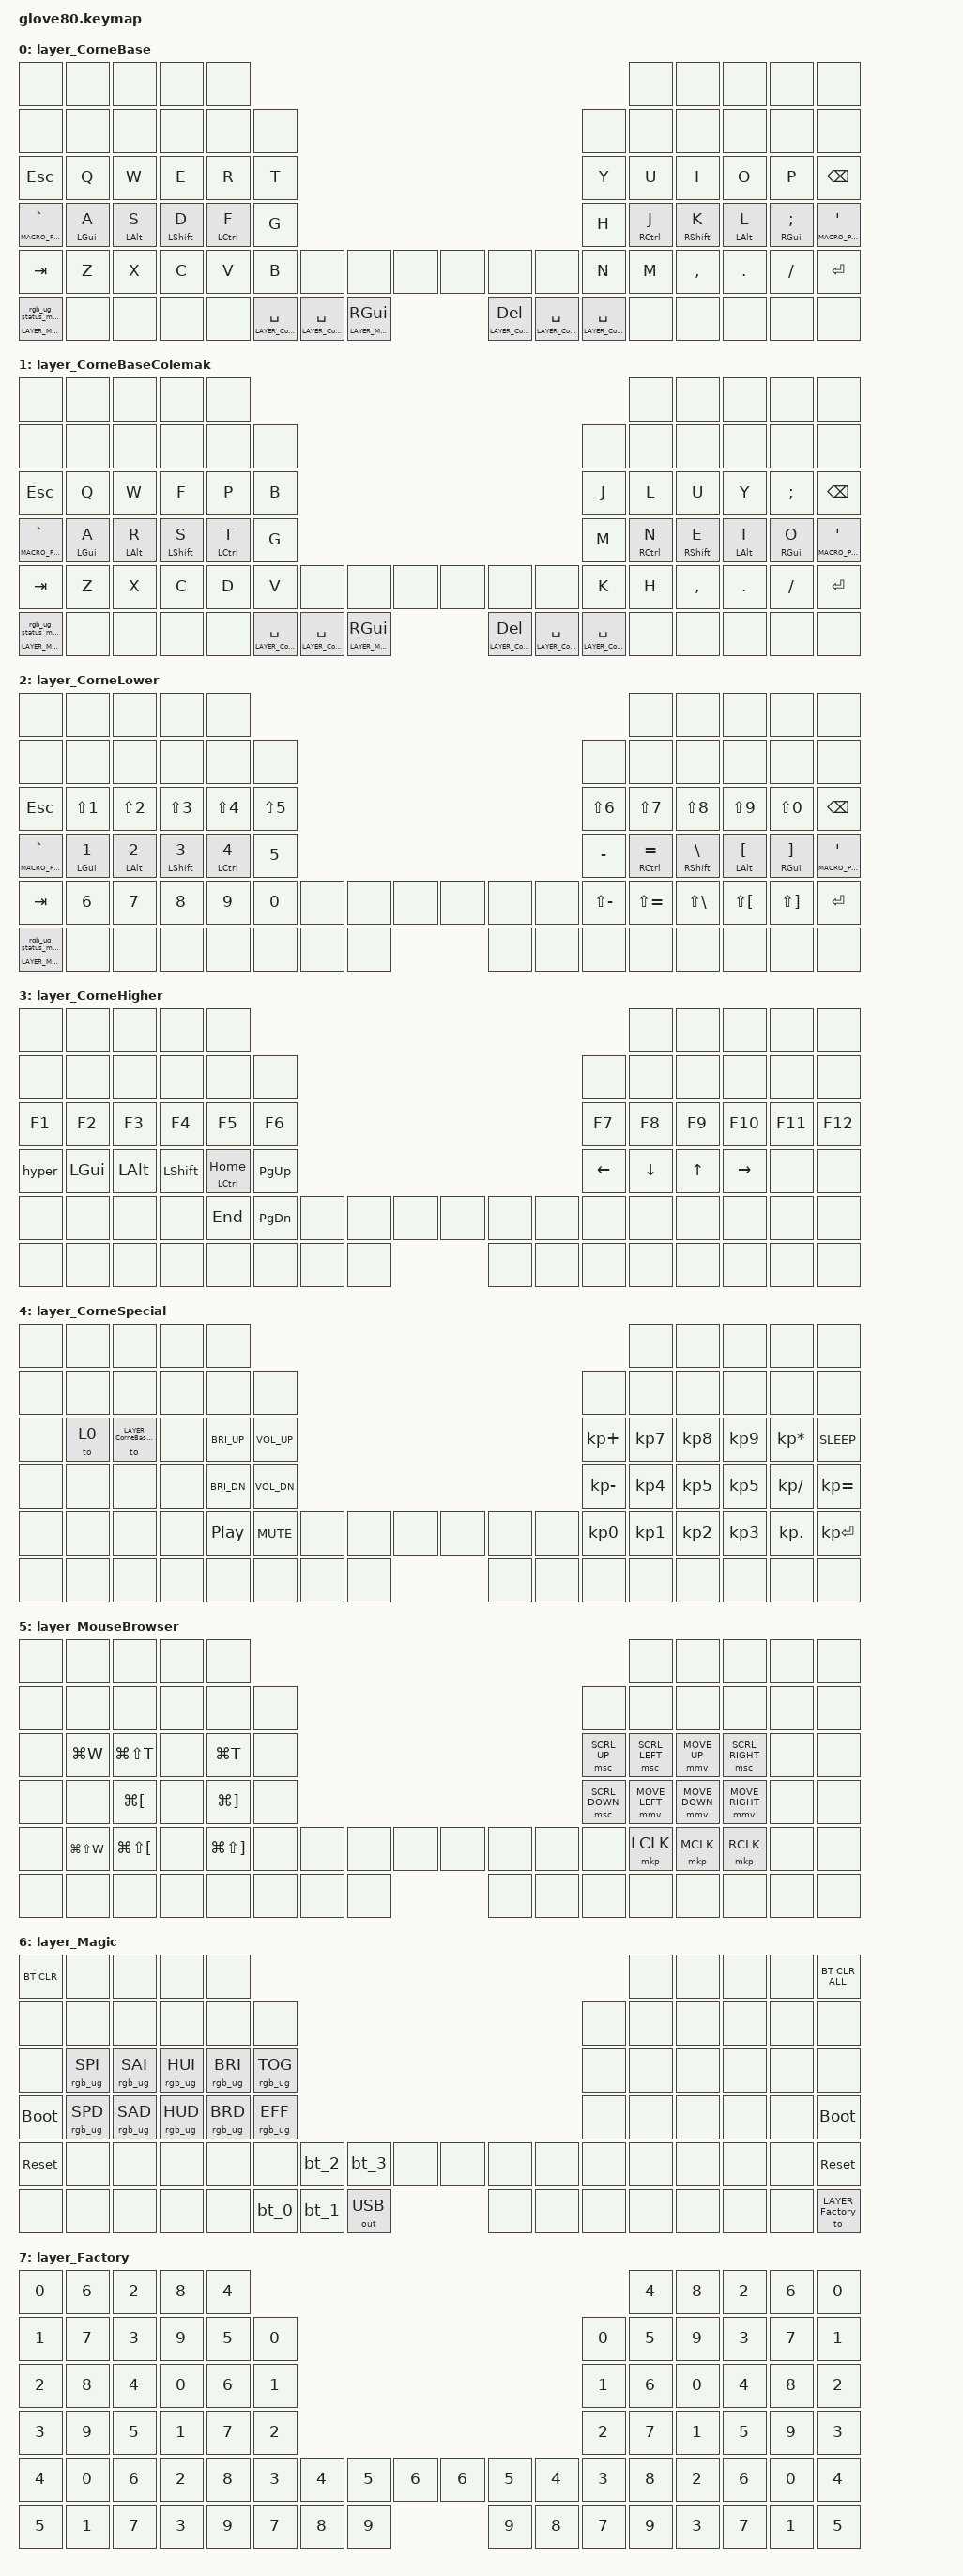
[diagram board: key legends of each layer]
/*
 * Copyright (c) 2020 The ZMK Contributors
 * Copyright (c) 2025 Innaworks Development Limited, trading as MoErgo
 *
 * SPDX-License-Identifier: MIT
 */


/* THIS FILE WAS GENERATED BY GLOVE80 LAYOUT EDITOR
 *
 * This file was generated automatically. You may or may not want to
 * edit it directly.
 */

#include <behaviors.dtsi>
/* Include all behavior includes needed */
#include <dt-bindings/zmk/outputs.h>
#include <dt-bindings/zmk/keys.h>
#include <dt-bindings/zmk/bt.h>
#include <dt-bindings/zmk/rgb.h>

/* On demand includes */
#include <dt-bindings/zmk/pointing.h>

/* Helper Macros, based on https://github.com/urob/zmk-helpers/ */

#pragma once

#define ZMK_HELPER_STRINGIFY(x) #x

// Preprocessor mechanism to overload macros, cf. https://stackoverflow.com/a/27051616/6114651
#define VARGS_(_10, _9, _8, _7, _6, _5, _4, _3, _2, _1, N, ...) N
#define VARGS(...) VARGS_(__VA_ARGS__, 10, 9, 8, 7, 6, 5, 4, 3, 2, 1, 0)
#define CONCAT_(a, b) a##b
#define CONCAT(a, b) CONCAT_(a, b)

#define ZMK_BEHAVIOR_CORE_tap_dance  \
    compatible = "zmk,behavior-tap-dance"; \
    #binding-cells = <0>

#define ZMK_BEHAVIOR(name, type, ...) \
    name: name { \
        ZMK_BEHAVIOR_CORE_ ## type; \
        __VA_ARGS__ \
    };

#define ZMK_TAP_DANCE(name, ...) \
    ZMK_BEHAVIOR(name, tap_dance, __VA_ARGS__)

#define ZMK_TD_LAYER(name, layer) \
    ZMK_TAP_DANCE(name, \
        tapping-term-ms = <200>; \
        bindings = <&mo layer>, <&to layer>; \
)

/* Environment and metadata defines */
#define KB_TYPE_GLOVE_80 1
#define KB_TYPE_GO_60    2

#define KB_TYPE          KB_TYPE_GLOVE_80
#define EDITOR_HOST_OS   'M'

/* Automatically generated layer name defines */
#define LAYER_CorneBase 0
#define LAYER_CorneBaseColemak 1
#define LAYER_CorneLower 2
#define LAYER_CorneHigher 3
#define LAYER_CorneSpecial 4
#define LAYER_MouseBrowser 5
#define LAYER_Magic 6
#define LAYER_Factory 7

/* To deal with the situation where there is no Lower layer, to keep &lower happy */
#ifndef LAYER_Lower
#define LAYER_Lower 0
#endif

/* Custom Device-tree */


/* Input Listeners */


/* System behavior and Macros */
/ {
    behaviors {
        ZMK_TD_LAYER(lower, LAYER_Lower)
    };
};

/ {
    macros {
        rgb_ug_status_macro: rgb_ug_status_macro {
            label = "RGB_UG_STATUS";
            compatible = "zmk,behavior-macro";
            #binding-cells = <0>;
            bindings
                = <&rgb_ug RGB_STATUS>;
        };
    };
};


/ {
#ifdef BT_DISC_CMD
    behaviors {
        bt_0: bt_0 {
            compatible = "zmk,behavior-tap-dance";
            label = "BT_0";
            #binding-cells = <0>;
            tapping-term-ms = <200>;
            bindings = <&bt_select_0>, <&bt BT_DISC 0>;
        };
        bt_1: bt_1 {
            compatible = "zmk,behavior-tap-dance";
            label = "BT_1";
            #binding-cells = <0>;
            tapping-term-ms = <200>;
            bindings = <&bt_select_1>, <&bt BT_DISC 1>;
        };
        bt_2: bt_2 {
            compatible = "zmk,behavior-tap-dance";
            label = "BT_2";
            #binding-cells = <0>;
            tapping-term-ms = <200>;
            bindings = <&bt_select_2>, <&bt BT_DISC 2>;
        };
        bt_3: bt_3 {
            compatible = "zmk,behavior-tap-dance";
            label = "BT_3";
            #binding-cells = <0>;
            tapping-term-ms = <200>;
            bindings = <&bt_select_3>, <&bt BT_DISC 3>;
        };
    };
    macros {
        bt_select_0: bt_select_0 {
            label = "BT_SELECT_0";
            compatible = "zmk,behavior-macro";
            #binding-cells = <0>;
            bindings
                = <&out OUT_BLE>,
                  <&bt BT_SEL 0>;
        };
        bt_select_1: bt_select_1 {
            label = "BT_SELECT_1";
            compatible = "zmk,behavior-macro";
            #binding-cells = <0>;
            bindings
                = <&out OUT_BLE>,
                  <&bt BT_SEL 1>;
        };
        bt_select_2: bt_select_2 {
            label = "BT_SELECT_2";
            compatible = "zmk,behavior-macro";
            #binding-cells = <0>;
            bindings
                = <&out OUT_BLE>,
                  <&bt BT_SEL 2>;
        };
        bt_select_3: bt_select_3 {
            label = "BT_SELECT_3";
            compatible = "zmk,behavior-macro";
            #binding-cells = <0>;
            bindings
                = <&out OUT_BLE>,
                  <&bt BT_SEL 3>;
        };
    };
#else
    macros {
        bt_0: bt_0 {
            label = "BT_0";
            compatible = "zmk,behavior-macro";
            #binding-cells = <0>;
            bindings
                = <&out OUT_BLE>,
                  <&bt BT_SEL 0>;
        };
        bt_1: bt_1 {
            label = "BT_1";
            compatible = "zmk,behavior-macro";
            #binding-cells = <0>;
            bindings
                = <&out OUT_BLE>,
                  <&bt BT_SEL 1>;
        };
        bt_2: bt_2 {
            label = "BT_2";
            compatible = "zmk,behavior-macro";
            #binding-cells = <0>;
            bindings
                = <&out OUT_BLE>,
                  <&bt BT_SEL 2>;
        };
        bt_3: bt_3 {
            label = "BT_3";
            compatible = "zmk,behavior-macro";
            #binding-cells = <0>;
            bindings
                = <&out OUT_BLE>,
                  <&bt BT_SEL 3>;
        };
    };
#endif
};

/ {
    behaviors {
        magic: magic {
            compatible = "zmk,behavior-hold-tap";
            label = "MAGIC_HOLD_TAP";
            #binding-cells = <2>;
            flavor = "tap-preferred";
            tapping-term-ms = <200>;
            bindings = <&mo>, <&rgb_ug_status_macro>;
        };
    };
};


/* Key positions */

#define POS_LH_C6R1 0
#define POS_LH_C5R1 1
#define POS_LH_C4R1 2
#define POS_LH_C3R1 3
#define POS_LH_C2R1 4
#define POS_RH_C2R1 5
#define POS_RH_C3R1 6
#define POS_RH_C4R1 7
#define POS_RH_C5R1 8
#define POS_RH_C6R1 9
#define POS_LH_C6R2 10
#define POS_LH_C5R2 11
#define POS_LH_C4R2 12
#define POS_LH_C3R2 13
#define POS_LH_C2R2 14
#define POS_LH_C1R2 15
#define POS_RH_C1R2 16
#define POS_RH_C2R2 17
#define POS_RH_C3R2 18
#define POS_RH_C4R2 19
#define POS_RH_C5R2 20
#define POS_RH_C6R2 21
#define POS_LH_C6R3 22
#define POS_LH_C5R3 23
#define POS_LH_C4R3 24
#define POS_LH_C3R3 25
#define POS_LH_C2R3 26
#define POS_LH_C1R3 27
#define POS_RH_C1R3 28
#define POS_RH_C2R3 29
#define POS_RH_C3R3 30
#define POS_RH_C4R3 31
#define POS_RH_C5R3 32
#define POS_RH_C6R3 33
#define POS_LH_C6R4 34
#define POS_LH_C5R4 35
#define POS_LH_C4R4 36
#define POS_LH_C3R4 37
#define POS_LH_C2R4 38
#define POS_LH_C1R4 39
#define POS_RH_C1R4 40
#define POS_RH_C2R4 41
#define POS_RH_C3R4 42
#define POS_RH_C4R4 43
#define POS_RH_C5R4 44
#define POS_RH_C6R4 45
#define POS_LH_C6R5 46
#define POS_LH_C5R5 47
#define POS_LH_C4R5 48
#define POS_LH_C3R5 49
#define POS_LH_C2R5 50
#define POS_LH_C1R5 51
#define POS_LH_T1 52
#define POS_LH_T2 53
#define POS_LH_T3 54
#define POS_RH_T3 55
#define POS_RH_T2 56
#define POS_RH_T1 57
#define POS_RH_C1R5 58
#define POS_RH_C2R5 59
#define POS_RH_C3R5 60
#define POS_RH_C4R5 61
#define POS_RH_C5R5 62
#define POS_RH_C6R5 63
#define POS_LH_C6R6 64
#define POS_LH_C5R6 65
#define POS_LH_C4R6 66
#define POS_LH_C3R6 67
#define POS_LH_C2R6 68
#define POS_LH_T4 69
#define POS_LH_T5 70
#define POS_LH_T6 71
#define POS_RH_T6 72
#define POS_RH_T5 73
#define POS_RH_T4 74
#define POS_RH_C2R6 75
#define POS_RH_C3R6 76
#define POS_RH_C4R6 77
#define POS_RH_C5R6 78
#define POS_RH_C6R6 79


/* Custom Defined Behaviors */
/ {

};

/* Generated input processors */


/* Automatically generated macro definitions */
/ {
    macros {

        hyper: hyper {
            label = "&HYPER";
            compatible = "zmk,behavior-macro";
            #binding-cells = <0>;
            bindings = <&macro_press>
                , <&kp LSHFT>
                , <&kp LCTRL>
                , <&kp LGUI>
                , <&kp LALT>
                , <&macro_pause_for_release>
                , <&macro_release>
                , <&kp LSHFT>
                , <&kp LCTRL>
                , <&kp LGUI>
                , <&kp LALT>;
        };
    };
};

/* Automatically generated behavior definitions */
/ {
    behaviors {


        home_row_hyper: home_row_hyper {
            compatible = "zmk,behavior-hold-tap";
            #binding-cells = <2>;
            tapping-term-ms = <180>;
            bindings = <&hyper>, <&kp>;
            flavor = "tap-preferred";
        };

        homerow: homerow {
            compatible = "zmk,behavior-hold-tap";
            #binding-cells = <2>;
            tapping-term-ms = <180>;
            bindings = <&kp>, <&kp>;
            flavor = "tap-preferred";
        };

        spacelayer: spacelayer {
            compatible = "zmk,behavior-hold-tap";
            #binding-cells = <2>;
            tapping-term-ms = <180>;
            bindings = <&mo>, <&kp>;
            flavor = "tap-preferred";
            quick-tap-ms = <100>;
        };
    };
};

/* Automatically generated combos definitions */
/ {
    combos {
        compatible = "zmk,combos";

        combo_ESCCombo {
            key-positions = <POS_LH_C4R3 POS_LH_C3R3>;
            bindings = <&kp ESC>;
        };

        combo_TabCombo {
            key-positions = <POS_LH_C4R5 POS_LH_C3R5>;
            bindings = <&kp TAB>;
        };

        combo_BackspaceCombo {
            key-positions = <POS_RH_C4R3 POS_RH_C3R3>;
            bindings = <&kp BSPC>;
        };

        combo_DeleteCombo {
            key-positions = <POS_RH_C3R3 POS_RH_C2R3>;
            bindings = <&kp DEL>;
        };

        combo_EnterCombo {
            key-positions = <POS_RH_C3R5 POS_RH_C4R5>;
            bindings = <&kp RET>;
        };

        combo_CapsLockCombo {
            key-positions = <POS_LH_C3R4 POS_RH_C3R4>;
            bindings = <&kp CAPS>;
        };
    };
};

/* Automatically generated keymap */
/ {
    keymap {
        compatible = "zmk,keymap";


        layer_CorneBase {
            bindings = <
                                   &none            &none            &none             &none             &none                                                                                                                                                                                                                                                        &none             &none            &none               &none                                  &none
                                   &none            &none            &none             &none             &none   &none                                                                                                                                                                                                                              &none             &none             &none            &none               &none                                  &none
                                 &kp ESC            &kp Q            &kp W             &kp E             &kp R   &kp T                                                                                                                                                                                                                              &kp Y             &kp U             &kp I            &kp O               &kp P                               &kp BSPC
 &home_row_hyper MACRO_PLACEHOLDER GRAVE  &homerow LGUI A  &homerow LALT S  &homerow LSHFT D  &homerow LCTRL F   &kp G                                                                                                                                                                                                                              &kp H  &homerow RCTRL J  &homerow RSHFT K  &homerow LALT L  &homerow RGUI SEMI  &home_row_hyper MACRO_PLACEHOLDER SQT
                                 &kp TAB            &kp Z            &kp X             &kp C             &kp V   &kp B                               &none                                &none                                &none                               &none                                &none                               &none   &kp N             &kp M         &kp COMMA          &kp DOT            &kp FSLH                                &kp RET
                    &magic LAYER_Magic 0            &none            &none             &none             &none          &spacelayer LAYER_CorneLower SPACE  &spacelayer LAYER_CorneHigher SPACE  &spacelayer LAYER_MouseBrowser RGUI  &spacelayer LAYER_CorneSpecial DEL  &spacelayer LAYER_CorneHigher SPACE  &spacelayer LAYER_CorneLower SPACE                     &none             &none            &none               &none                                  &none
            >;
        };

        layer_CorneBaseColemak {
            bindings = <
                                   &none            &none            &none             &none             &none                                                                                                                                                                                                                                                        &none             &none            &none            &none                                  &none
                                   &none            &none            &none             &none             &none   &none                                                                                                                                                                                                                              &none             &none             &none            &none            &none                                  &none
                                 &kp ESC            &kp Q            &kp W             &kp F             &kp P   &kp B                                                                                                                                                                                                                              &kp J             &kp L             &kp U            &kp Y         &kp SEMI                               &kp BSPC
 &home_row_hyper MACRO_PLACEHOLDER GRAVE  &homerow LGUI A  &homerow LALT R  &homerow LSHFT S  &homerow LCTRL T   &kp G                                                                                                                                                                                                                              &kp M  &homerow RCTRL N  &homerow RSHFT E  &homerow LALT I  &homerow RGUI O  &home_row_hyper MACRO_PLACEHOLDER SQT
                                 &kp TAB            &kp Z            &kp X             &kp C             &kp D   &kp V                               &none                                &none                                &none                               &none                                &none                               &none   &kp K             &kp H         &kp COMMA          &kp DOT         &kp FSLH                                &kp RET
                    &magic LAYER_Magic 0            &none            &none             &none             &none          &spacelayer LAYER_CorneLower SPACE  &spacelayer LAYER_CorneHigher SPACE  &spacelayer LAYER_MouseBrowser RGUI  &spacelayer LAYER_CorneSpecial DEL  &spacelayer LAYER_CorneHigher SPACE  &spacelayer LAYER_CorneLower SPACE                     &none             &none            &none            &none                                  &none
            >;
        };

        layer_CorneLower {
            bindings = <
                                   &none             &none             &none              &none              &none                                                                                            &none                &none               &none               &none                                  &none
                                   &none             &none             &none              &none              &none       &none                                                          &none                 &none                &none               &none               &none                                  &none
                                 &kp ESC        &kp LS(N1)        &kp LS(N2)         &kp LS(N3)         &kp LS(N4)  &kp LS(N5)                                                     &kp LS(N6)            &kp LS(N7)           &kp LS(N8)          &kp LS(N9)          &kp LS(N0)                               &kp BSPC
 &home_row_hyper MACRO_PLACEHOLDER GRAVE  &homerow LGUI N1  &homerow LALT N2  &homerow LSHFT N3  &homerow LCTRL N4      &kp N5                                                      &kp MINUS  &homerow RCTRL EQUAL  &homerow RSHFT BSLH  &homerow LALT LBKT  &homerow RGUI RBKT  &home_row_hyper MACRO_PLACEHOLDER SQT
                                 &kp TAB            &kp N6            &kp N7             &kp N8             &kp N9      &kp N0   &none   &none   &none   &none   &none   &none  &kp LS(MINUS)         &kp LS(EQUAL)         &kp LS(BSLH)        &kp LS(LBKT)        &kp LS(RBKT)                                &kp RET
                    &magic LAYER_Magic 0             &none             &none              &none              &none               &none   &none   &none   &none   &none   &none                                &none                &none               &none               &none                                  &none
            >;
        };

        layer_CorneHigher {
            bindings = <
  &none     &none     &none      &none                &none                                                                          &none   &none      &none    &none    &none
  &none     &none     &none      &none                &none      &none                                                     &none     &none   &none      &none    &none    &none
 &kp F1    &kp F2    &kp F3     &kp F4               &kp F5     &kp F6                                                    &kp F7    &kp F8  &kp F9    &kp F10  &kp F11  &kp F12
 &hyper  &kp LGUI  &kp LALT  &kp LSHFT  &homerow LCTRL HOME  &kp PG_UP                                                  &kp LEFT  &kp DOWN  &kp UP  &kp RIGHT    &none    &none
  &none     &none     &none      &none              &kp END  &kp PG_DN   &none   &none   &none   &none   &none   &none     &none     &none   &none      &none    &none    &none
  &none     &none     &none      &none                &none              &none   &none   &none   &none   &none   &none               &none   &none      &none    &none    &none
            >;
        };

        layer_CorneSpecial {
            bindings = <
  &none   &none                       &none   &none         &none                                                                                  &none      &none      &none            &none         &none
  &none   &none                       &none   &none         &none         &none                                                         &none      &none      &none      &none            &none         &none
  &none   &to 0  &to LAYER_CorneBaseColemak   &none  &kp C_BRI_UP  &kp C_VOL_UP                                                   &kp KP_PLUS  &kp KP_N7  &kp KP_N8  &kp KP_N9  &kp KP_MULTIPLY   &kp C_SLEEP
  &none   &none                       &none   &none  &kp C_BRI_DN  &kp C_VOL_DN                                                  &kp KP_MINUS  &kp KP_N4  &kp KP_N5  &kp KP_N5     &kp KP_SLASH  &kp KP_EQUAL
  &none   &none                       &none   &none      &kp C_PP    &kp K_MUTE   &none   &none   &none   &none   &none   &none     &kp KP_N0  &kp KP_N1  &kp KP_N2  &kp KP_N3       &kp KP_DOT  &kp KP_ENTER
  &none   &none                       &none   &none         &none                 &none   &none   &none   &none   &none   &none                    &none      &none      &none            &none         &none
            >;
        };

        layer_MouseBrowser {
            bindings = <
  &none          &none                     &none   &none                      &none                                                                                   &none           &none            &none   &none   &none
  &none          &none                     &none   &none                      &none   &none                                                           &none           &none           &none            &none   &none   &none
  &none      &kp LG(W)             &kp LG(LS(T))   &none                  &kp LG(T)   &none                                                    &msc SCRL_UP  &msc SCRL_LEFT    &mmv MOVE_UP  &msc SCRL_RIGHT   &none   &none
  &none          &none      &kp LG(LEFT_BRACKET)   &none      &kp LG(RIGHT_BRACKET)   &none                                                  &msc SCRL_DOWN  &mmv MOVE_LEFT  &mmv MOVE_DOWN  &mmv MOVE_RIGHT   &none   &none
  &none  &kp LG(LS(W))  &kp LG(LS(LEFT_BRACKET))   &none  &kp LG(LS(RIGHT_BRACKET))   &none   &none   &none   &none   &none   &none   &none           &none       &mkp LCLK       &mkp MCLK        &mkp RCLK   &none   &none
  &none          &none                     &none   &none                      &none           &none   &none   &none   &none   &none   &none                           &none           &none            &none   &none   &none
            >;
        };

        layer_Magic {
            bindings = <
  &bt BT_CLR            &none            &none            &none            &none                                                                                  &none   &none   &none   &none     &bt BT_CLR_ALL
       &none            &none            &none            &none            &none            &none                                                         &none   &none   &none   &none   &none              &none
       &none  &rgb_ug RGB_SPI  &rgb_ug RGB_SAI  &rgb_ug RGB_HUI  &rgb_ug RGB_BRI  &rgb_ug RGB_TOG                                                         &none   &none   &none   &none   &none              &none
 &bootloader  &rgb_ug RGB_SPD  &rgb_ug RGB_SAD  &rgb_ug RGB_HUD  &rgb_ug RGB_BRD  &rgb_ug RGB_EFF                                                         &none   &none   &none   &none   &none        &bootloader
  &sys_reset            &none            &none            &none            &none            &none   &bt_2   &bt_3         &none   &none   &none   &none   &none   &none   &none   &none   &none         &sys_reset
       &none            &none            &none            &none            &none                    &bt_0   &bt_1  &out OUT_USB   &none   &none   &none           &none   &none   &none   &none  &to LAYER_Factory
            >;
        };

        layer_Factory {
            bindings = <
 &kp NUMBER_0  &kp NUMBER_6  &kp NUMBER_2  &kp NUMBER_8  &kp NUMBER_4                                                                                                                  &kp NUMBER_4  &kp NUMBER_8  &kp NUMBER_2  &kp NUMBER_6  &kp NUMBER_0
 &kp NUMBER_1  &kp NUMBER_7  &kp NUMBER_3  &kp NUMBER_9  &kp NUMBER_5  &kp NUMBER_0                                                                                      &kp NUMBER_0  &kp NUMBER_5  &kp NUMBER_9  &kp NUMBER_3  &kp NUMBER_7  &kp NUMBER_1
 &kp NUMBER_2  &kp NUMBER_8  &kp NUMBER_4  &kp NUMBER_0  &kp NUMBER_6  &kp NUMBER_1                                                                                      &kp NUMBER_1  &kp NUMBER_6  &kp NUMBER_0  &kp NUMBER_4  &kp NUMBER_8  &kp NUMBER_2
 &kp NUMBER_3  &kp NUMBER_9  &kp NUMBER_5  &kp NUMBER_1  &kp NUMBER_7  &kp NUMBER_2                                                                                      &kp NUMBER_2  &kp NUMBER_7  &kp NUMBER_1  &kp NUMBER_5  &kp NUMBER_9  &kp NUMBER_3
 &kp NUMBER_4  &kp NUMBER_0  &kp NUMBER_6  &kp NUMBER_2  &kp NUMBER_8  &kp NUMBER_3  &kp NUMBER_4  &kp NUMBER_5  &kp NUMBER_6  &kp NUMBER_6  &kp NUMBER_5  &kp NUMBER_4  &kp NUMBER_3  &kp NUMBER_8  &kp NUMBER_2  &kp NUMBER_6  &kp NUMBER_0  &kp NUMBER_4
 &kp NUMBER_5  &kp NUMBER_1  &kp NUMBER_7  &kp NUMBER_3  &kp NUMBER_9                &kp NUMBER_7  &kp NUMBER_8  &kp NUMBER_9  &kp NUMBER_9  &kp NUMBER_8  &kp NUMBER_7                &kp NUMBER_9  &kp NUMBER_3  &kp NUMBER_7  &kp NUMBER_1  &kp NUMBER_5
            >;
        };

    };
};
